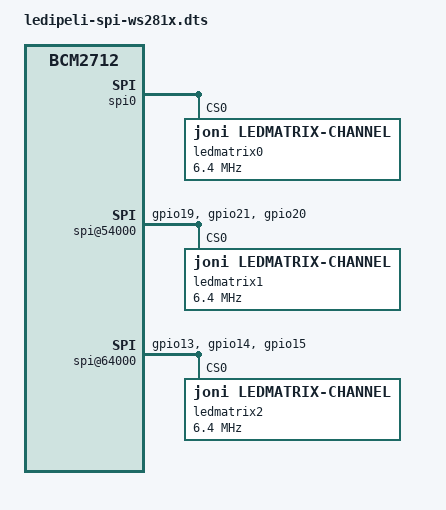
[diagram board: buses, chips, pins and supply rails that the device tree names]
/dts-v1/;
/plugin/;

/ {
    compatible = "brcm,bcm2712";

    fragment@0 {
        target = <&spi0>;

        __overlay__ {
            status = "okay";
            #address-cells = <1>;
            #size-cells = <0>;

            ledmatrix0: ledmatrix@0 {
                compatible = "joni,ledmatrix-channel";
                reg = <0>;
                joni,channel = <0>;
                spi-max-frequency = <6400000>;
                status = "okay";
            };
        };
    };

    fragment@1 {
        target-path = "/axi/pcie@120000/rp1/spi@54000";

        __overlay__ {
            status = "okay";
            #address-cells = <1>;
            #size-cells = <0>;

            ledmatrix1: ledmatrix@0 {
                compatible = "joni,ledmatrix-channel";
                reg = <0>;
                joni,channel = <1>;
                spi-max-frequency = <6400000>;
                status = "okay";
            };
        };
    };
fragment@2 {
    target-path = "/axi/pcie@120000/rp1/spi@64000";

    __overlay__ {
        status = "okay";
        #address-cells = <1>;
        #size-cells = <0>;

        ledmatrix2: ledmatrix@0 {
            compatible = "joni,ledmatrix-channel";
            reg = <0>;
            joni,channel = <2>;
            spi-max-frequency = <6400000>;
            status = "okay";
        };
    };
};

fragment@7 {
    target = <&rp1_gpio>;

    __overlay__ {
        ledmatrix_spi1_pins: ledmatrix-spi1-pins {
            spi1-other-pins {
                function = "spi1";
                pins = "gpio19", "gpio21";
                bias-disable;
            };

            spi1-mosi-pin {
                function = "spi1";
                pins = "gpio20";
                bias-pull-down;
            };
        };

        ledmatrix_spi5_pins: ledmatrix-spi5-pins {
            spi5-pins {
                function = "spi5";
                pins = "gpio13", "gpio14", "gpio15";
                bias-disable;
            };
        };
    };
};

fragment@4 {
    target-path = "/axi/pcie@120000/rp1/spi@54000";

    __overlay__ {
        pinctrl-names = "default";
        pinctrl-0 = <&ledmatrix_spi1_pins>;
    };
};

fragment@5 {
    target-path = "/axi/pcie@120000/rp1/spi@64000";

    __overlay__ {
        pinctrl-names = "default";
        pinctrl-0 = <&ledmatrix_spi5_pins>;
    };
};
    fragment@6 {
        target-path = "/axi/pcie@120000/rp1/spi@50000/spidev@0";

        __overlay__ {
            status = "disabled";
        };
    };
};
